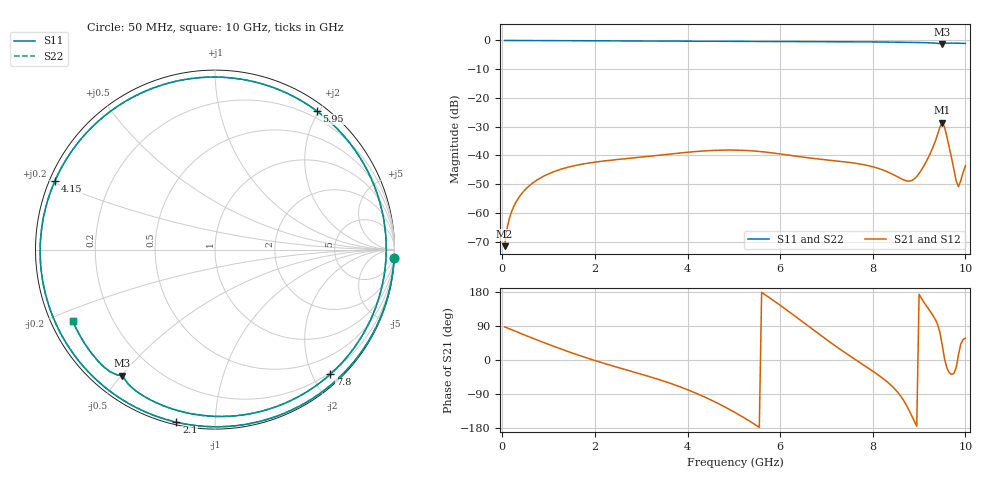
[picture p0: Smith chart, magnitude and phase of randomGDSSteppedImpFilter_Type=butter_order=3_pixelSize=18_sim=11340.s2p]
! freq	dB(S11)	phase(S11)	dB(S12)	phase(S12)
!  dB(S21)	phase(S21)	dB(S22)	phase(S22)
!S-par simulation data
#  GHz  S  DB  R 50
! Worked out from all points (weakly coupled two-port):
!   200 points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, 50 MHz to 10 GHz, reference 50 ohm
!   highest |S21| = -28.63 dB at 9.5 GHz (marker M1); lowest = -71.6 dB at 50 MHz (marker M2)
!   lowest |S11| = -1.2 dB at 9.5 GHz (marker M3), VSWR 14.61, Z = 4.29 - j25.2 ohm
!   |S11| at or under -10 dB: nowhere
!   |S22| runs from -1.2 to 0.0 dB; largest |S21 - S12| = 0
!   S11 on the Smith chart (normalised r, x): 50 MHz: 0, -45; 2.1 GHz: 0.01, -0.80; 4.15 GHz: 0.02, +0.21; 5.95 GHz: 0.10, +1.97; 7.8 GHz: 0.17, -2.28; 10 GHz: 0.06, -0.24
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0.05  -0.00 -2.5  -71.58 87.4  -71.58 87.4  -0.00 -2.5
0.1  -0.01 -5.0  -65.58 84.9  -65.58 84.9  -0.01 -5.0
0.2  -0.01 -10.0  -59.59 79.9  -59.59 79.9  -0.01 -10.0
0.5  -0.03 -25.0  -51.82 65.0  -51.82 65.0  -0.03 -25.0
1.15  -0.07 -57.0  -45.44 34.3  -45.44 34.3  -0.07 -57.0
1.75  -0.11 -85.9  -42.96 8.5  -42.96 8.5  -0.11 -85.9
2.1  -0.13 -102.6  -42.12 -5.2  -42.12 -5.2  -0.13 -102.6
2.7  -0.16 -131.1  -41.09 -26.9  -41.09 -26.9  -0.16 -131.1
3.4  -0.21 -165.0  -39.91 -52.3  -39.91 -52.3  -0.21 -165.1
4.15  -0.26 156.7  -38.69 -85.9  -38.69 -85.9  -0.26 156.6
5.05  -0.32 106.8  -38.16 -140.2  -38.16 -140.2  -0.32 106.7
5.5  -0.35 80.4  -38.55 -173.7  -38.55 -173.7  -0.35 80.3
5.95  -0.37 53.7  -39.38 148.8  -39.38 148.8  -0.37 53.6
6.7  -0.40 10.3  -41.02 80.8  -41.02 80.8  -0.40 10.2
7.2  -0.43 -16.9  -41.89 36.3  -41.89 36.3  -0.43 -16.9
7.8  -0.48 -47.2  -43.22 -13.0  -43.22 -13.0  -0.48 -47.3
8.35  -0.56 -73.3  -45.94 -61.7  -45.94 -61.7  -0.56 -73.4
8.9  -0.69 -98.8  -48.13 -162.4  -48.13 -162.4  -0.69 -98.9
9.2  -0.80 -113.0  -40.69 135.3  -40.69 135.3  -0.81 -113.1
9.5  -1.19 -126.3  -28.63 39.0  -28.63 39.0  -1.20 -126.4
9.85  -0.97 -144.7  -50.87 13.3  -50.87 13.3  -0.97 -144.8
10  -1.04 -153.2  -43.60 57.6  -43.60 57.6  -1.04 -153.4
